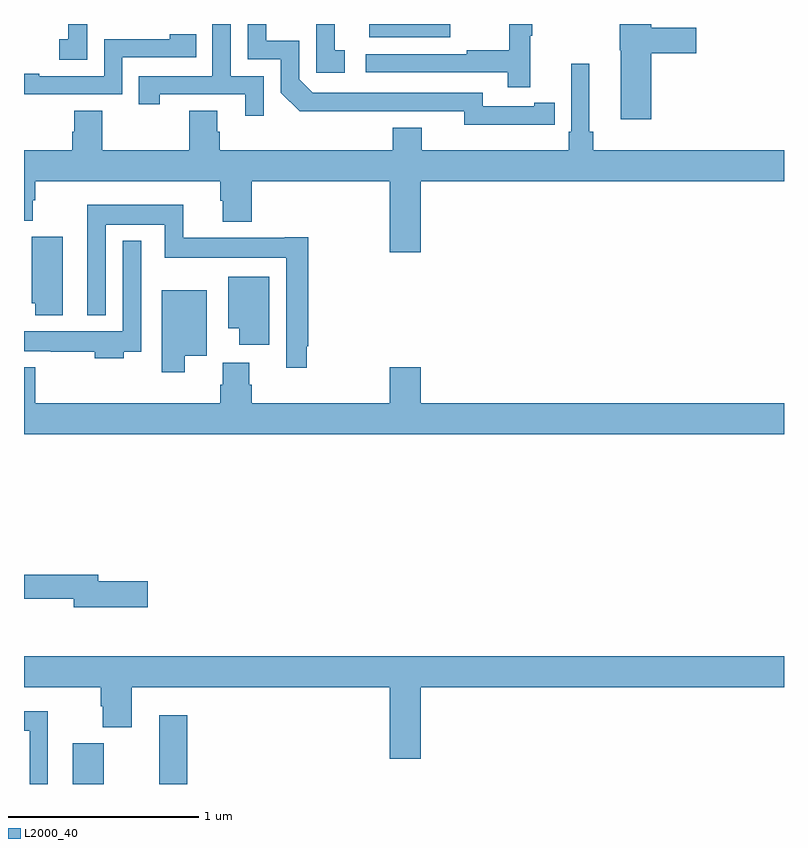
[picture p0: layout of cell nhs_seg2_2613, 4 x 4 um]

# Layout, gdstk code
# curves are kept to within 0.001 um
import gdstk
lib = gdstk.Library(unit=1e-6, precision=1e-09)
def R(c, l, rs):  # rectangles x0, y0, x1, y1
    for r in rs: c.add(gdstk.rectangle(r[:2], r[2:], *l))
def P(c, l, *ps):  # polygons
    for p in ps: c.add(gdstk.Polygon(p, *l))
L2000_40 = (2000, 40)

nhs_seg2_2613 = lib.new_cell('nhs_seg2_2613')
R(nhs_seg2_2613, L2000_40, [(247.256,641.8,247.42,642.015), (248.816,645.731,249.244,645.8)])
P(nhs_seg2_2613, L2000_40, [(249.686,645.27),(249.794,645.27),(249.794,645.386),(249.686,645.386),(249.686,645.366),(249.414,645.366),(249.414,645.438),(248.52,645.438),(248.448,645.51),(248.448,645.711),(248.275,645.711),(248.275,645.8),(248.178,645.8),(248.178,645.615),(248.352,645.615),(248.352,645.438),(248.45,645.341),(249.318,645.342),(249.318,645.269)],
  [(250.301,645.647),(250.537,645.647),(250.537,645.781),(250.301,645.781),(250.301,645.8),(250.135,645.8),(250.135,645.663),(250.142,645.663),(250.142,645.3),(250.301,645.3)],
  [(248.262,645.525),(248.088,645.525),(248.088,645.8),(247.992,645.8),(247.992,645.525),(247.603,645.525),(247.603,645.378),(247.714,645.378),(247.714,645.429),(248.165,645.429),(248.165,645.318),(248.262,645.318)],
  [(247.332,645.8),(247.234,645.8),(247.234,645.721),(247.185,645.721),(247.185,645.612),(247.332,645.612)],
  [(248.689,645.663),(248.636,645.663),(248.636,645.8),(248.538,645.8),(248.538,645.543),(248.689,645.543)],
  [(249.665,645.739),(249.676,645.739),(249.676,645.8),(249.555,645.8),(249.555,645.662),(249.331,645.662),(249.331,645.642),(248.799,645.642),(248.799,645.546),(249.547,645.546),(249.547,645.468),(249.665,645.468)],
  [(247.518,645.624),(247.907,645.624),(247.907,645.747),(247.767,645.747),(247.767,645.72),(247.422,645.72),(247.422,645.525),(247.081,645.525),(247.081,645.538),(247,645.538),(247,645.429),(247.518,645.429)],
  [(249.088,644.972),(251,644.972),(251,645.136),(249.995,645.136),(249.995,645.232),(249.976,645.232),(249.976,645.592),(249.879,645.592),(249.879,645.232),(249.866,645.232),(249.866,645.136),(249.094,645.136),(249.094,645.253),(248.942,645.253),(248.942,645.136),(248.03,645.136),(248.03,645.234),(248.017,645.234),(248.017,645.344),(247.87,645.344),(247.87,645.136),(247.413,645.136),(247.413,645.344),(247.265,645.344),(247.265,645.234),(247.253,645.234),(247.253,645.136),(247,645.136),(247,644.764),(247.045,644.764),(247.045,644.873),(247.058,644.873),(247.058,644.972),(248.033,644.972),(248.033,644.871),(248.045,644.871),(248.045,644.759),(248.198,644.759),(248.198,644.972),(248.924,644.972),(248.924,644.598),(249.088,644.598)],
  [(248.488,644.104),(248.495,644.104),(248.495,644.677),(248.372,644.677),(248.372,644.674),(247.838,644.674),(247.838,644.848),(247.334,644.848),(247.334,644.267),(247.431,644.267),(247.431,644.744),(247.74,644.744),(247.74,644.57),(248.379,644.57),(248.379,643.992),(248.488,643.992)],
  [(247.204,644.679),(247.04,644.679),(247.04,644.331),(247.058,644.331),(247.058,644.268),(247.204,644.268)],
  [(247.525,644.076),(247.617,644.076),(247.617,644.659),(247.521,644.659),(247.521,644.182),(247,644.182),(247,644.078),(247.141,644.078),(247.141,644.076),(247.373,644.076),(247.373,644.042),(247.525,644.042)],
  [(248.29,644.47),(248.075,644.47),(248.075,644.198),(248.132,644.198),(248.132,644.112),(248.29,644.112)],
  [(247.846,644.054),(247.963,644.054),(247.963,644.398),(247.724,644.398),(247.724,643.968),(247.846,643.968)],
  [(251,643.804),(249.088,643.804),(249.088,643.993),(248.924,643.993),(248.924,643.804),(248.198,643.804),(248.198,643.902),(248.185,643.902),(248.185,644.017),(248.045,644.017),(248.045,643.902),(248.033,643.902),(248.033,643.804),(247.058,643.804),(247.058,643.993),(247,643.993),(247,643.64),(251,643.64)],
  [(247.651,642.866),(247.39,642.866),(247.39,642.902),(247,642.902),(247,642.774),(247.262,642.774),(247.262,642.731),(247.651,642.731)],
  [(249.088,642.308),(251,642.308),(251,642.472),(247,642.472),(247,642.308),(247.403,642.308),(247.403,642.209),(247.415,642.209),(247.415,642.1),(247.568,642.1),(247.568,642.308),(248.924,642.308),(248.924,641.934),(249.088,641.934)],
  [(247.126,642.184),(247,642.184),(247,642.08),(247.029,642.08),(247.029,641.8),(247.126,641.8)],
  [(247.859,642.163),(247.712,642.163),(247.712,641.842),(247.713,641.842),(247.713,641.8),(247.859,641.8)])

lib.write_gds('nhs_seg2_2613.gds')
